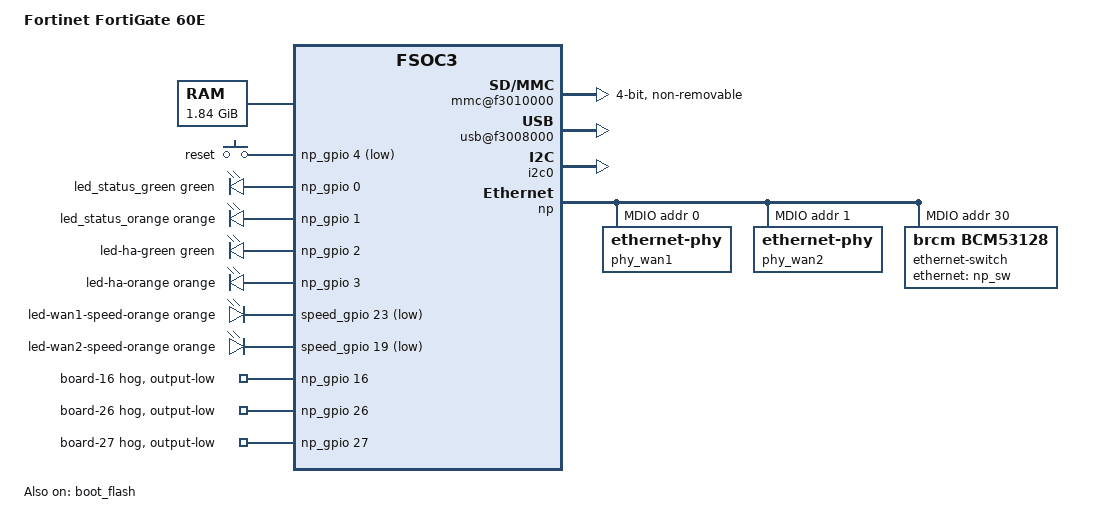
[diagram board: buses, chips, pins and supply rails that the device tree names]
// SPDX-License-Identifier: GPL-2.0-only OR MIT
/dts-v1/;

#include "fsoc3.dtsi"
#include <dt-bindings/gpio/gpio.h>
#include <dt-bindings/input/input.h>
#include <dt-bindings/leds/common.h>

/ {
	model = "Fortinet FortiGate 60E";
	compatible = "fortinet,fg60e", "fortinet,fsoc3";

	aliases {
		serial0 = &uart0;
		i2c0 = &i2c0;
	};

	chosen {
		bootargs = "earlycon=em_uart,mmio32,0xfb000000 console=ttyS0,9600n8 loglevel=8 panic=10";
		stdout-path = "serial0:9600n8";
	};

	/*
	 * Memory given to Linux: 1888 MiB from 0. The rest of the 2 GiB,
	 * from 0x76000000, is left out for the network processor (counter
	 * base of its traffic counter engine, see fortinet,tce-base).
	 */
	memory@0 {
		device_type = "memory";
		reg = <0x00000000 0x76000000>;
	};

	reserved-memory {
		#address-cells = <1>;
		#size-cells = <1>;
		ranges;

		/*
		 * The boot loader leaves host queues 0 of its network processor
		 * running (TFTP on wan1): receive ring and write-back at
		 * 0x10000000 (64 entries), 2 KiB receive buffers from 0x10000620,
		 * transmit ring at 0x10020620 (16 entries), transmit buffers up to
		 * 0x10028840. Kept out of Linux even though
		 * the NP6Lite driver stops them first; the whole MiB, as a margin.
		 */
		np_loader: np-loader@10000000 {
			reg = <0x10000000 0x100000>;
			no-map;
		};

		/*
		 * The boot loader also leaves the traffic counter engine (TCE) of
		 * its network processor enabled with its counter base at 0: each
		 * counter is a 16 byte entry (64-bit bytes, 64-bit packets) at
		 * base + 16 * index, added to every 255 packets or 64 KiB, and
		 * entries 0-4 are in use (observed: page 0 rewritten every
		 * 10-20 s on an idle system, page cache and init text
		 * corrupted). The driver moves the base to fortinet,tce-base
		 * at probe; until then, the 16 KiB below the kernel page tables
		 * (counters 0-1023) are kept out of Linux. Reserved but mapped:
		 * with no-map, the ARM code marks the rest of the first 2 MiB
		 * no-map as well (first usable region PMD aligned), kernel
		 * text included.
		 */
		np_tce_low: np-tce-low@0 {
			reg = <0x00000000 0x4000>;
		};
	};

	/* Writable file system of the slot of image 1, on the eMMC, for user space */
	rootfs-data {
		compatible = "fortinet,disk-rootfs-data";
		fortinet,disk-sectors = /bits/ 64 <7471104>;
		fortinet,rootfs-data = <819208 491520>;
	};

	/*
	 * Input clock of the eMMC controller, fixed at 90 909 090 Hz
	 * (1 GHz / 11); the card clock derives from it through the TMIO
	 * divider.
	 */
	sdhi_clk: clock-sdhi {
		compatible = "fixed-clock";
		#clock-cells = <0>;
		clock-frequency = <90909090>;
	};
};

&{/soc} {
	/*
	 * eMMC controller of the FortiSOC3: an R-Car Gen3 style SDHI. PIO
	 * only, 4-bit bus, legacy timing at most 25 MHz, no SD/SDIO probing,
	 * user area only, read-only (core guard: read commands only, apart from
	 * the write windows below).
	 */
	mmc@f3010000 {
		compatible = "fortinet,fsoc3-sdhi";
		reg = <0xf3010000 0x2000>;
		interrupts = <GIC_SPI 22 IRQ_TYPE_LEVEL_HIGH>;
		clocks = <&sdhi_clk>;
		bus-width = <4>;
		max-frequency = <25000000>;
		non-removable;
		no-sdio;
		no-sd;
		fortinet,force-ro;
		/*
		 * Writes the installer may make once armed: sector 0, where only
		 * the name and build number of image 1 and the active flags of
		 * partitions 1 and 2 may change, and partition 2, the slot of
		 * image 1 (sectors 786440 to 1310727). Open without arming: the
		 * writable file system of that slot (rootfs_data, sectors 819208
		 * to 1310727, after the 16 380 KiB boot image at sectors 786440
		 * to 819199), aligned on the 4 KiB pages of the page cache of
		 * the disk, through which its loop device writes; sectors 819200
		 * to 819207 of the slot stay unused.
		 */
		fortinet,write-windows = <0 1>, <786440 524288>;
		fortinet,sector0-bytes = <0x30 32>, <0x12c 4>, <0x1be 1>, <0x1ce 1>;
		fortinet,persistent-windows = <819208 491520>;
	};

	/*
	 * NP6Lite msc GPIO block: front panel lines 0-3 and board lines 16,
	 * 26, 27 driven (below), line 4 read (button). Reserved: 6 (USB port power,
	 * driven by the xHCI glue), 17-18 (MDC lines) and 20-25 (resets and
	 * interrupts of the WAN PHYs and of the switch), owned by the NP6Lite
	 * driver. The block lies inside the NP6Lite window: the GPIO driver
	 * maps it without requesting the region.
	 */
	gpio@f500fc00 {
		compatible = "fortinet,fsoc3-gpio";
		reg = <0xf500fc00 0x80>;
		gpio-controller;
		#gpio-cells = <2>;
		ngpios = <32>;
		gpio-reserved-ranges = <6 1>, <17 2>, <20 6>;
	};

	/*
	 * xHCI (R-Car Gen2 compatible) with the public R-Car "v2" firmware of
	 * linux-firmware commit 98d922b9, renamed, binary unmodified. Port
	 * power on line 6 of the GPIO block above (second register range),
	 * driven high after the firmware download. DMA not coherent. The first
	 * enumeration needs both quirks: no soft toggle reset of endpoints
	 * whose ring was never used, and the output context of configured
	 * endpoints checked against what the driver set.
	 */
	usb@f3008000 {
		compatible = "fortinet,fsoc3-xhci";
		reg = <0xf3008000 0x8000>,
		      <0xf500fc00 0x80>;
		interrupts = <GIC_SPI 44 IRQ_TYPE_LEVEL_HIGH>;
		firmware-name = "r8a779x_usb3_v2-98d922b9.dlmem";
		fortinet,vbus-line = <6>;
		fortinet,skip-fresh-ep-reset;
		fortinet,trust-internal-ep-state;
	};

	/* Internal RTC, read only: never written. */
	rtc@fc700000 {
		compatible = "fortinet,fsoc3-rtc";
		reg = <0xfc700000 0x100>;
	};

	/* First I2C controller (IICA), read-only driver. */
	i2c0: i2c@fb004000 {
		compatible = "fortinet,fsoc3-i2c";
		reg = <0xfb004000 0x1000>;
		interrupts = <GIC_SPI 13 IRQ_TYPE_EDGE_RISING>,
			     <GIC_SPI 12 IRQ_TYPE_EDGE_RISING>;
		interrupt-names = "transfer", "stop";
		clocks = <&periph_clk>;
		#address-cells = <1>;
		#size-cells = <0>;

		/*
		 * Described for reference only: no device acknowledges at
		 * 0x51 on this board; the clock is the SoC internal RTC.
		 */
		rtc@51 {
			compatible = "nxp,pcf8563";
			reg = <0x51>;
			status = "disabled";
		};
	};

	/*
	 * NP6Lite network processor. Board wiring: Marvell 88E1514 at 0 and 1
	 * (SGMII) on the MDC line of NP GPIO 17, BCM53128 at pseudo-PHY 30 on
	 * the MDC line of NP GPIO 18; resets on NP GPIO 20 and 24 (the loader
	 * only raises 22, the wan1 PHY).
	 */
	np: ethernet@f5000000 {
		compatible = "fortinet,fsoc3-np6lite";
		reg = <0xf5000000 0x20000>;
		/*
		 * One pulse per vector message, not a level: rising edge.
		 */
		interrupts = <GIC_SPI 48 IRQ_TYPE_EDGE_RISING>,
			     <GIC_SPI 49 IRQ_TYPE_EDGE_RISING>,
			     <GIC_SPI 50 IRQ_TYPE_EDGE_RISING>,
			     <GIC_SPI 51 IRQ_TYPE_EDGE_RISING>,
			     <GIC_SPI 52 IRQ_TYPE_EDGE_RISING>;
		interrupt-names = "hif0", "hif1", "hif2", "hif3", "err";
		/* through the ACP (profiles set by the machine code) */
		dma-coherent;
		/*
		 * PHY and switch resets, pulsed at probe: 20 = wan2, 22 = wan1,
		 * 24 = switch. The loader releases 22 only on its TFTP path: a
		 * boot from the eMMC leaves the wan1 PHY in reset otherwise.
		 */
		fortinet,reset-pins = <20 22 24>;
		/*
		 * LIF 0 (wan1) and LIF 1 (host queue 0) get the loader's values,
		 * replayed at probe; the driver writes the entries of the other
		 * LIFs at probe.
		 */
		fortinet,init-logical-interfaces;
		/*
		 * Counter base of the traffic counter engine, outside the
		 * memory given to Linux (0x8000 entries of 16 bytes,
		 * 512 KiB at most).
		 */
		fortinet,tce-base = <0x76000000>;

		mdio {
			#address-cells = <1>;
			#size-cells = <0>;
			fortinet,mdc-pin = <17>;

			phy_wan1: ethernet-phy@0 {
				reg = <0>;
			};

			phy_wan2: ethernet-phy@1 {
				reg = <1>;
			};
		};

		mdio-switch {
			#address-cells = <1>;
			#size-cells = <0>;
			fortinet,mdc-pin = <18>;

			/*
			 * dmz = switch port 0, internalN = port 8 - N, IMP = port
			 * 8 on NP link 1 (RGMII); b53 sets both RGMII delays of
			 * the IMP port. MAC address of each user port: factory
			 * base + its rank (see the boot flash below).
			 */
			ethernet-switch@1e {
				compatible = "brcm,bcm53128";
				reg = <30>;
				/*
				 * Traffic class 7 on every user port (as the 60D
				 * and 90D): the frames of port 0 (dmz) then key
				 * the class table of the network processor with
				 * VID 0xe0, never VID 0 (never matched, measured).
				 */
				brcm,port-traffic-class = <7>;

				ethernet-ports {
					#address-cells = <1>;
					#size-cells = <0>;

					ethernet-port@0 {
						reg = <0>;
						label = "dmz";
						nvmem-cells = <&mac_base 2>;
						nvmem-cell-names = "mac-address";
						post-init-providers = <&mac_base>;
					};
					ethernet-port@1 {
						reg = <1>;
						label = "internal7";
						nvmem-cells = <&mac_base 9>;
						nvmem-cell-names = "mac-address";
						post-init-providers = <&mac_base>;
					};
					ethernet-port@2 {
						reg = <2>;
						label = "internal6";
						nvmem-cells = <&mac_base 8>;
						nvmem-cell-names = "mac-address";
						post-init-providers = <&mac_base>;
					};
					ethernet-port@3 {
						reg = <3>;
						label = "internal5";
						nvmem-cells = <&mac_base 7>;
						nvmem-cell-names = "mac-address";
						post-init-providers = <&mac_base>;
					};
					ethernet-port@4 {
						reg = <4>;
						label = "internal4";
						nvmem-cells = <&mac_base 6>;
						nvmem-cell-names = "mac-address";
						post-init-providers = <&mac_base>;
					};
					ethernet-port@5 {
						reg = <5>;
						label = "internal3";
						nvmem-cells = <&mac_base 5>;
						nvmem-cell-names = "mac-address";
						post-init-providers = <&mac_base>;
					};
					ethernet-port@6 {
						reg = <6>;
						label = "internal2";
						nvmem-cells = <&mac_base 4>;
						nvmem-cell-names = "mac-address";
						post-init-providers = <&mac_base>;
					};
					ethernet-port@7 {
						reg = <7>;
						label = "internal1";
						nvmem-cells = <&mac_base 3>;
						nvmem-cell-names = "mac-address";
						post-init-providers = <&mac_base>;
					};

					ethernet-port@8 {
						reg = <8>;
						ethernet = <&np_sw>;
						phy-mode = "rgmii";

						/*
						 * Pause on the IMP: the switch then holds
						 * frames from the NP and sends pause frames
						 * instead of dropping them at the IMP input
						 * when a user port is congested. The NP
						 * MAC does not honour them (its txctl
						 * flow control bit is left clear).
						 */
						fixed-link {
							speed = <1000>;
							full-duplex;
							pause;
						};
					};
				};
			};
		};

		ethernet-ports {
			#address-cells = <1>;
			#size-cells = <0>;

			/* reg = LIF; fortinet,np-link = NP link (MAC port + 1) */
			port@0 {
				reg = <0>;
				label = "wan1";
				/* rank 0: factory base + 0 */
				nvmem-cells = <&mac_base 0>;
				nvmem-cell-names = "mac-address";
				post-init-providers = <&mac_base>;
				fortinet,np-link = <3>;
				phy-handle = <&phy_wan1>;
				phy-mode = "sgmii";
			};

			port@2 {
				reg = <2>;
				label = "wan2";
				/* rank 1: factory base + 1 */
				nvmem-cells = <&mac_base 1>;
				nvmem-cell-names = "mac-address";
				post-init-providers = <&mac_base>;
				fortinet,np-link = <7>;
				phy-handle = <&phy_wan2>;
				phy-mode = "sgmii";
			};

			/* conduit of the switch */
			np_sw: port@3 {
				reg = <3>;
				label = "sw0";
				fortinet,np-link = <1>;
				/*
				 * LIF of switch port 0 to 7: dmz (port 0) on
				 * LIF 8, internal7 to internal1 (ports 1 to 7)
				 * on LIFs 9 to 15; the class cell of the
				 * conduit (VID 0, LIF 3) is left as it is.
				 */
				fortinet,switch-logical-interfaces = <8 9 10 11 12 13 14 15>;
				phy-mode = "rgmii";

				fixed-link {
					speed = <1000>;
					full-duplex;
				};
			};
		};
	};
};

/*
 * Factory block of the boot flash, read only (fsoc3-boot-flash): the base
 * MAC address of the appliance, 6 bytes at 0x5880 into the block; the
 * port of rank i gets the base + i (wan1 0, wan2 1, dmz 2,
 * internal1-7 3-9). The cell is not a device: post-init-providers keeps
 * fw_devlink from holding the ports on it forever if the flash fails.
 */
&boot_flash {
	status = "okay";

	nvmem-layout {
		compatible = "fixed-layout";
		#address-cells = <1>;
		#size-cells = <1>;

		mac_base: mac-address@5880 {
			compatible = "mac-base";
			reg = <0x5880 0x6>;
			#nvmem-cell-cells = <1>;
		};
	};
};

/*
 * Front panel wiring (established by observation):
 * - STATUS and HA: one bicolour LED each, between two lines of the GPIO
 *   block of the network processor, lit high: STATUS green line 0,
 *   orange line 1; HA green line 2, orange line 3. Either colour only
 *   lights while the other line is an output at the low level, so every
 *   line of a pair is described (off = output low). Lines 16, 26 and 27
 *   are outputs at the low level under the board firmware, without a
 *   visible LED: kept so by hogs.
 * - WAN ports: the link/activity LED is on the LED[1] pin of the port
 *   PHY (Marvell 88E1514); the bicolour speed LED sits between the
 *   LED[0] pin of the PHY and an output line of the system manager
 *   (line 23 for wan1, 19 for wan2): green when LED[0] is lit (1000
 *   Mbit/s link) and the line is high, orange when LED[0] is off and the
 *   line is low. LED[2] is the interrupt pin (INTn) of the PHY on this
 *   board: never an LED. The PHY LEDs and the orange half are driven by
 *   the netdev trigger, set from user space.
 * - Reset button: line 4 of the GPIO block, pressed low.
 *
 * Watchdog: block at 0xfbe01600, about 48 MHz; its expiry interrupt
 * restarts the SoC by software (the reset of the block itself freezes
 * the next boot). Described, disabled.
 */

/ {
	aliases {
		led-boot = &led_status_green;
		led-failsafe = &led_status_orange;
		led-running = &led_status_green;
		led-upgrade = &led_status_orange;
	};

	keys {
		compatible = "gpio-keys-polled";
		poll-interval = <100>;

		button-reset {
			label = "reset";
			linux,code = <KEY_RESTART>;
			gpios = <&np_gpio 4 GPIO_ACTIVE_LOW>;
		};
	};

	/* Output lines of the system manager: lines 19 and 23 only */
	speed_gpio: gpio-sysmgr {
		compatible = "fortinet,fsoc3-sysmgr-gpio";
		fortinet,sysmgr = <&sysmgr>;
		gpio-controller;
		#gpio-cells = <2>;
		ngpios = <32>;
		gpio-reserved-ranges = <0 19>, <20 3>, <24 8>;
	};

	leds {
		compatible = "gpio-leds";

		led_status_green: led-status-green {
			color = <LED_COLOR_ID_GREEN>;
			function = LED_FUNCTION_STATUS;
			gpios = <&np_gpio 0 GPIO_ACTIVE_HIGH>;
			default-state = "on";
		};

		led_status_orange: led-status-orange {
			color = <LED_COLOR_ID_ORANGE>;
			function = LED_FUNCTION_STATUS;
			gpios = <&np_gpio 1 GPIO_ACTIVE_HIGH>;
			default-state = "off";
		};

		led-ha-green {
			color = <LED_COLOR_ID_GREEN>;
			function = "ha";
			gpios = <&np_gpio 2 GPIO_ACTIVE_HIGH>;
			default-state = "off";
		};

		led-ha-orange {
			color = <LED_COLOR_ID_ORANGE>;
			function = "ha";
			gpios = <&np_gpio 3 GPIO_ACTIVE_HIGH>;
			default-state = "off";
		};

		/* Orange half of the speed LED of wan1 (100 Mbit/s) */
		led-wan1-speed-orange {
			color = <LED_COLOR_ID_ORANGE>;
			function = LED_FUNCTION_SPEED_WAN;
			function-enumerator = <1>;
			gpios = <&speed_gpio 23 GPIO_ACTIVE_LOW>;
			default-state = "off";
		};

		led-wan2-speed-orange {
			color = <LED_COLOR_ID_ORANGE>;
			function = LED_FUNCTION_SPEED_WAN;
			function-enumerator = <2>;
			gpios = <&speed_gpio 19 GPIO_ACTIVE_LOW>;
			default-state = "off";
		};
	};
};

&{/soc} {
	np_gpio: gpio@f500fc00 {
		line16-hog {
			gpio-hog;
			gpios = <16 GPIO_ACTIVE_HIGH>;
			output-low;
			line-name = "board-16";
		};

		line26-hog {
			gpio-hog;
			gpios = <26 GPIO_ACTIVE_HIGH>;
			output-low;
			line-name = "board-26";
		};

		line27-hog {
			gpio-hog;
			gpios = <27 GPIO_ACTIVE_HIGH>;
			output-low;
			line-name = "board-27";
		};
	};


	/*
	 * Disabled until its expiry has been shown to restart the board
	 * cleanly on three boots out of three.
	 */
	soc_wdt: watchdog@fbe01600 {
		compatible = "fortinet,fsoc3-wdt";
		reg = <0xfbe01600 0x100>;
		interrupts = <GIC_SPI 11 IRQ_TYPE_EDGE_RISING>;
		clock-frequency = <48000000>;	/* measured */
		timeout-sec = <30>;
		fortinet,sysmgr = <&sysmgr>;
		status = "disabled";
	};
};

&phy_wan1 {
	leds {
		#address-cells = <1>;
		#size-cells = <0>;

		/* LED[0]: green half of the speed LED, 1000 Mbit/s link */
		led@0 {
			reg = <0>;
			color = <LED_COLOR_ID_GREEN>;
			function = LED_FUNCTION_SPEED_WAN;
		};

		/* LED[1]: link/activity LED */
		led@1 {
			reg = <1>;
			color = <LED_COLOR_ID_GREEN>;
			function = LED_FUNCTION_WAN;
		};
	};
};

&phy_wan2 {
	leds {
		#address-cells = <1>;
		#size-cells = <0>;

		led@0 {
			reg = <0>;
			color = <LED_COLOR_ID_GREEN>;
			function = LED_FUNCTION_SPEED_WAN;
		};

		led@1 {
			reg = <1>;
			color = <LED_COLOR_ID_GREEN>;
			function = LED_FUNCTION_WAN;
		};
	};
};
